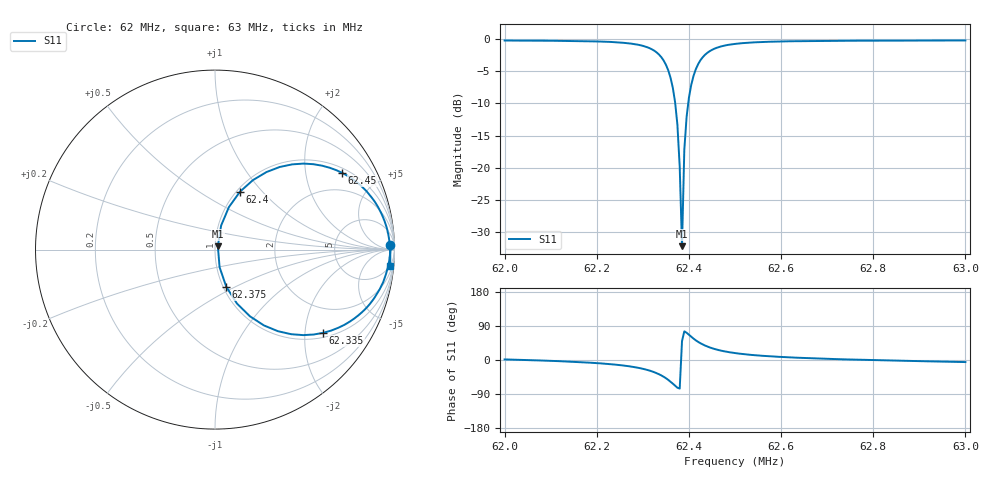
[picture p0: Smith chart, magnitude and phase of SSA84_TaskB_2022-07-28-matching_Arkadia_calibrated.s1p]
#  HZ  S  DB  R  50.00
! Rohde & Schwarz Vector Network Analyzer
! Rohde-Schwarz,ZNB8-4Port,1311601044102961,2.82
! Created: UTC 7/28/2022, 12:37:54 PM
!The following Port Impedance Renormalization has been used when saving the data.
!PortZ  Port1:50+j0
! freq[Hz]  db:S11  ang:S11
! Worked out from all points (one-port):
!   201 points, 62 MHz to 63 MHz, reference 50 ohm
!   lowest |S11| = -32.2 dB at 62.385 MHz (marker M1), VSWR 1.05, Z = 51.6 + j1.92 ohm
!   |S11| at or under -10 dB: 62.37029 MHz to 62.39849 MHz (28.2 kHz wide, 0.0452 % of centre)
!   S11 on the Smith chart (normalised r, x): 62 MHz: 37, +44; 62.335 MHz: 1.13, -2.49; 62.375 MHz: 1.03, -0.45; 62.4 MHz: 1.04, +0.76; 62.45 MHz: 1.18, +3.19; 63 MHz: 4, -20
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6.2e7  -0.19 1.5
6.2125e7  -0.24 -3.4
6.22e7  -0.33 -8.2
6.225e7  -0.50 -13.4
6.23e7  -1.02 -23.2
6.232e7  -1.57 -30.1
6.2335e7  -2.37 -37.5
6.235e7  -3.95 -48.0
6.236e7  -5.97 -57.2
6.2365e7  -7.54 -62.4
6.237e7  -9.80 -67.9
6.2375e7  -13.31 -73.1
6.238e7  -19.84 -75.4
6.2385e7  -32.24 49.7
6.239e7  -17.21 75.7
6.2395e7  -12.08 71.9
6.24e7  -9.10 66.7
6.241e7  -5.70 56.4
6.242e7  -3.87 47.9
6.2435e7  -2.41 38.1
6.245e7  -1.65 31.1
6.247e7  -1.11 24.6
6.25e7  -0.72 18.3
6.2555e7  -0.43 11.5
6.2625e7  -0.30 6.6
6.275e7  -0.23 1.3
6.2875e7  -0.20 -2.4
6.3e7  -0.18 -5.4
